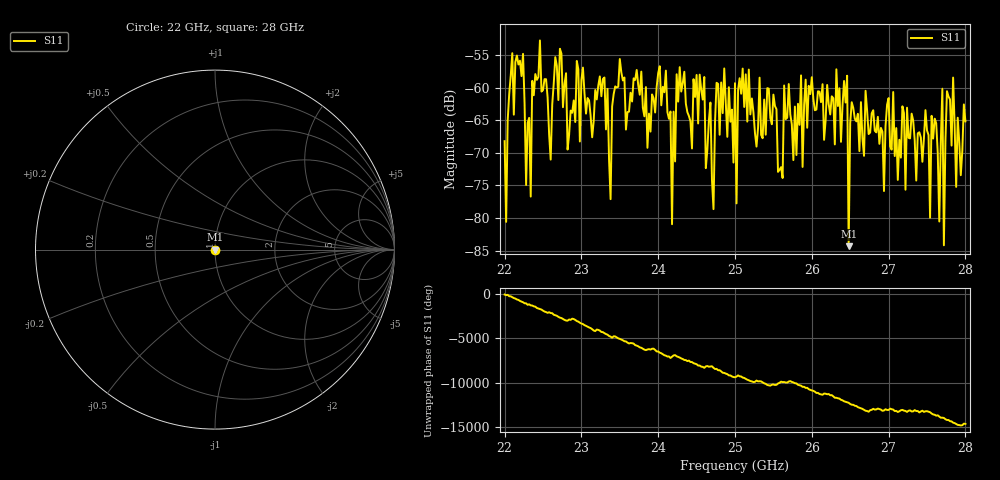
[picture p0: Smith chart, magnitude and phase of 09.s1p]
#  HZ  S  RI  R  50.00
! Rohde & Schwarz ZVA40 4Ports - Version 3.90 - 1145.1110k42 SN: 100403
! Date: 2023-10-04 09:35:59
! Measurement: S12
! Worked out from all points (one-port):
!   301 points, 22 GHz to 28 GHz, reference 50 ohm
!   lowest |S11| = -84.3 dB at 26.48 GHz (marker M1), VSWR 1.00, Z = 50 - j0.0024 ohm
!   |S11| at or under -10 dB: start of sweep to end of sweep
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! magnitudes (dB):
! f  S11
! 22 GHz  -68.2
! 22.1 GHz  -54.7
! 22.76 GHz  -63.0
! 23.3 GHz  -58.5
! 23.38 GHz  -77.1
! 23.5 GHz  -55.6
! 24.1 GHz  -57.4
! 24.18 GHz  -81.0
! 24.26 GHz  -62.2
! 24.6 GHz  -58.4
! 24.72 GHz  -78.7
! 24.76 GHz  -59.3
! 25 GHz  -59.3
! 25.02 GHz  -77.8
! 25.1 GHz  -57.1
! 25.76 GHz  -71.1
! 26.46 GHz  -58.2
! 26.48 GHz  -84.3
! 26.5 GHz  -65.5
! 27.26 GHz  -67.7
! 27.48 GHz  -63.5
! 27.54 GHz  -80.0
! 27.6 GHz  -64.8
! 27.66 GHz  -80.6
! 27.7 GHz  -60.2
! 27.72 GHz  -84.2
! 27.76 GHz  -60.6
! 28 GHz  -65.2
